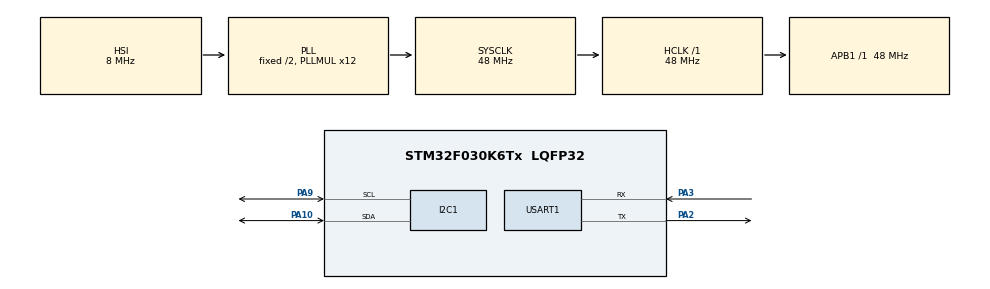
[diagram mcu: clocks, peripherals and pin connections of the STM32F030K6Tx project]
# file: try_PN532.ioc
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Mcu.Family=STM32F0
Mcu.Name=STM32F030K6Tx
Mcu.Package=LQFP32
PA10.Mode=I2C
PA10.Signal=I2C1_SDA
PA13.Mode=Serial_Wire
PA13.Signal=SYS_SWDIO
PA14.Mode=Serial_Wire
PA14.Signal=SYS_SWCLK
PA2.Mode=Asynchronous
PA2.Signal=USART1_TX
PA3.Mode=Asynchronous
PA3.Signal=USART1_RX
PA9.Mode=I2C
PA9.Signal=I2C1_SCL
PF0-OSC_IN.Mode=HSE-External-Oscillator
PF0-OSC_IN.Signal=RCC_OSC_IN
PF1-OSC_OUT.Mode=HSE-External-Oscillator
PF1-OSC_OUT.Signal=RCC_OSC_OUT
ProjectManager.HeapSize=0x200
ProjectManager.StackSize=0x400
ProjectManager.TargetToolchain=MDK-ARM V5
RCC.AHBFreq_Value=48000000
RCC.APB1Freq_Value=48000000
RCC.APB1TimFreq_Value=48000000
RCC.HCLKFreq_Value=48000000
RCC.PLLMUL=RCC_PLL_MUL12
RCC.SYSCLKFreq_VALUE=48000000
RCC.SYSCLKSource=RCC_SYSCLKSOURCE_PLLCLK
USART1.VirtualMode-Asynchronous=VM_ASYNC
board=custom

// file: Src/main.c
/**
  ******************************************************************************
  * @file           : main.c
  * @brief          : Main program body
  ******************************************************************************
  ** This notice applies to any and all portions of this file
  * that are not between comment pairs USER CODE BEGIN and
  * USER CODE END. Other portions of this file, whether
  * inserted by the user or by software development tools
  * are owned by their respective copyright owners.
  *
  * COPYRIGHT(c) 2018 STMicroelectronics
  *
  * Redistribution and use in source and binary forms, with or without modification,
  * are permitted provided that the following conditions are met:
  *   1. Redistributions of source code must retain the above copyright notice,
  *      this list of conditions and the following disclaimer.
  *   2. Redistributions in binary form must reproduce the above copyright notice,
  *      this list of conditions and the following disclaimer in the documentation
  *      and/or other materials provided with the distribution.
  *   3. Neither the name of STMicroelectronics nor the names of its contributors
  *      may be used to endorse or promote products derived from this software
  *      without specific prior written permission.
  *
  * THIS SOFTWARE IS PROVIDED BY THE COPYRIGHT HOLDERS AND CONTRIBUTORS "AS IS"
  * AND ANY EXPRESS OR IMPLIED WARRANTIES, INCLUDING, BUT NOT LIMITED TO, THE
  * IMPLIED WARRANTIES OF MERCHANTABILITY AND FITNESS FOR A PARTICULAR PURPOSE ARE
  * DISCLAIMED. IN NO EVENT SHALL THE COPYRIGHT HOLDER OR CONTRIBUTORS BE LIABLE
  * FOR ANY DIRECT, INDIRECT, INCIDENTAL, SPECIAL, EXEMPLARY, OR CONSEQUENTIAL
  * DAMAGES (INCLUDING, BUT NOT LIMITED TO, PROCUREMENT OF SUBSTITUTE GOODS OR
  * SERVICES; LOSS OF USE, DATA, OR PROFITS; OR BUSINESS INTERRUPTION) HOWEVER
  * CAUSED AND ON ANY THEORY OF LIABILITY, WHETHER IN CONTRACT, STRICT LIABILITY,
  * OR TORT (INCLUDING NEGLIGENCE OR OTHERWISE) ARISING IN ANY WAY OUT OF THE USE
  * OF THIS SOFTWARE, EVEN IF ADVISED OF THE POSSIBILITY OF SUCH DAMAGE.
  *
  ******************************************************************************
  */
#include "main.h"
#include "stm32f0xx_hal.h"

I2C_HandleTypeDef hi2c1;

UART_HandleTypeDef huart1;

/* USER CODE BEGIN PV */
/* Private variables ---------------------------------------------------------*/
typedef int boolean;
enum { false, true };

#define PN532_I2C_ADDRESS 						(0x48)
#define PN532_PREAMBLE                (0x00)
#define PN532_STARTCODE1              (0x00)
#define PN532_STARTCODE2              (0xFF)
#define PN532_POSTAMBLE               (0x00)

#define PN532_INVALID_ACK             (-1)
#define PN532_HOSTTOPN532             (0xD4)
#define PN532_PN532TOHOST             (0xD5)

#define PN532_COMMAND_SAMCONFIGURATION (0x14)

uint8_t pn532_packetbuffer[64];
uint8_t command;
/* USER CODE END PV */

void SystemClock_Config(void);
static void MX_GPIO_Init(void);
static void MX_I2C1_Init(void);
static void MX_USART1_UART_Init(void);

/* USER CODE BEGIN PFP */
/* Private function prototypes -----------------------------------------------*/
boolean SAMConfig();
int8_t writeCommand(const uint8_t *header, uint8_t hlen);
int8_t readAckFrame();
int16_t readResponse(uint8_t buf[], uint8_t len, uint16_t timeout);

/* USER CODE END PFP */

int main(void)
{

  /* MCU Configuration----------------------------------------------------------*/

  /* Reset of all peripherals, Initializes the Flash interface and the Systick. */
  HAL_Init();

  /* Configure the system clock */
  SystemClock_Config();

  /* Initialize all configured peripherals */
  MX_GPIO_Init();
  MX_I2C1_Init();
  MX_USART1_UART_Init();
  /* USER CODE BEGIN 2 */
	// SAMCinfig

  /* USER CODE END 2 */

  /* Infinite loop */
  while (1)
  {

  }

}

void SystemClock_Config(void)
{

  RCC_OscInitTypeDef RCC_OscInitStruct;
  RCC_ClkInitTypeDef RCC_ClkInitStruct;
  RCC_PeriphCLKInitTypeDef PeriphClkInit;

    /**Initializes the CPU, AHB and APB busses clocks
    */
  RCC_OscInitStruct.OscillatorType = RCC_OSCILLATORTYPE_HSI;
  RCC_OscInitStruct.HSIState = RCC_HSI_ON;
  RCC_OscInitStruct.HSICalibrationValue = 16;
  RCC_OscInitStruct.PLL.PLLState = RCC_PLL_ON;
  RCC_OscInitStruct.PLL.PLLSource = RCC_PLLSOURCE_HSI;
  RCC_OscInitStruct.PLL.PLLMUL = RCC_PLL_MUL12;
  RCC_OscInitStruct.PLL.PREDIV = RCC_PREDIV_DIV1;
  if (HAL_RCC_OscConfig(&RCC_OscInitStruct) != HAL_OK)
  {
    _Error_Handler(__FILE__, __LINE__);
  }

    /**Initializes the CPU, AHB and APB busses clocks
    */
  RCC_ClkInitStruct.ClockType = RCC_CLOCKTYPE_HCLK|RCC_CLOCKTYPE_SYSCLK
                              |RCC_CLOCKTYPE_PCLK1;
  RCC_ClkInitStruct.SYSCLKSource = RCC_SYSCLKSOURCE_PLLCLK;
  RCC_ClkInitStruct.AHBCLKDivider = RCC_SYSCLK_DIV1;
  RCC_ClkInitStruct.APB1CLKDivider = RCC_HCLK_DIV1;

  if (HAL_RCC_ClockConfig(&RCC_ClkInitStruct, FLASH_LATENCY_1) != HAL_OK)
  {
    _Error_Handler(__FILE__, __LINE__);
  }

  PeriphClkInit.PeriphClockSelection = RCC_PERIPHCLK_USART1|RCC_PERIPHCLK_I2C1;
  PeriphClkInit.Usart1ClockSelection = RCC_USART1CLKSOURCE_PCLK1;
  PeriphClkInit.I2c1ClockSelection = RCC_I2C1CLKSOURCE_HSI;
  if (HAL_RCCEx_PeriphCLKConfig(&PeriphClkInit) != HAL_OK)
  {
    _Error_Handler(__FILE__, __LINE__);
  }

    /**Configure the Systick interrupt time
    */
  HAL_SYSTICK_Config(HAL_RCC_GetHCLKFreq()/1000);

    /**Configure the Systick
    */
  HAL_SYSTICK_CLKSourceConfig(SYSTICK_CLKSOURCE_HCLK);

  /* SysTick_IRQn interrupt configuration */
  HAL_NVIC_SetPriority(SysTick_IRQn, 0, 0);
}

/* I2C1 init function */
static void MX_I2C1_Init(void)
{

  hi2c1.Instance = I2C1;
  hi2c1.Init.Timing = 0x2000090E;
  hi2c1.Init.OwnAddress1 = 0;
  hi2c1.Init.AddressingMode = I2C_ADDRESSINGMODE_7BIT;
  hi2c1.Init.DualAddressMode = I2C_DUALADDRESS_DISABLE;
  hi2c1.Init.OwnAddress2 = 0;
  hi2c1.Init.OwnAddress2Masks = I2C_OA2_NOMASK;
  hi2c1.Init.GeneralCallMode = I2C_GENERALCALL_DISABLE;
  hi2c1.Init.NoStretchMode = I2C_NOSTRETCH_DISABLE;
  if (HAL_I2C_Init(&hi2c1) != HAL_OK)
  {
    _Error_Handler(__FILE__, __LINE__);
  }

    /**Configure Analogue filter
    */
  if (HAL_I2CEx_ConfigAnalogFilter(&hi2c1, I2C_ANALOGFILTER_ENABLE) != HAL_OK)
  {
    _Error_Handler(__FILE__, __LINE__);
  }

    /**Configure Digital filter
    */
  if (HAL_I2CEx_ConfigDigitalFilter(&hi2c1, 0) != HAL_OK)
  {
    _Error_Handler(__FILE__, __LINE__);
  }

}

/* USART1 init function */
static void MX_USART1_UART_Init(void)
{

  huart1.Instance = USART1;
  huart1.Init.BaudRate = 38400;
  huart1.Init.WordLength = UART_WORDLENGTH_8B;
  huart1.Init.StopBits = UART_STOPBITS_1;
  huart1.Init.Parity = UART_PARITY_NONE;
  huart1.Init.Mode = UART_MODE_TX_RX;
  huart1.Init.HwFlowCtl = UART_HWCONTROL_NONE;
  huart1.Init.OverSampling = UART_OVERSAMPLING_16;
  huart1.Init.OneBitSampling = UART_ONE_BIT_SAMPLE_DISABLE;
  huart1.AdvancedInit.AdvFeatureInit = UART_ADVFEATURE_NO_INIT;
  if (HAL_UART_Init(&huart1) != HAL_OK)
  {
    _Error_Handler(__FILE__, __LINE__);
  }

}

/** Configure pins as
        * Analog
        * Input
        * Output
        * EVENT_OUT
        * EXTI
*/
static void MX_GPIO_Init(void)
{

  /* GPIO Ports Clock Enable */
  __HAL_RCC_GPIOF_CLK_ENABLE();
  __HAL_RCC_GPIOA_CLK_ENABLE();

}

/* USER CODE BEGIN 4 */
boolean SAMConfig()
{
	pn532_packetbuffer[0] = PN532_COMMAND_SAMCONFIGURATION;
  pn532_packetbuffer[1] = 0x01; // normal mode;
  pn532_packetbuffer[2] = 0x14; // timeout 50ms * 20 = 1 second
  pn532_packetbuffer[3] = 0x01; // use IRQ pin!

	if(writeCommand(pn532_packetbuffer, 4))
		return false;

}

int8_t writeCommand(const uint8_t *header, uint8_t hlen)
{
	command = header[0];
	uint8_t* dataOut;
	int total_length = 8;
	dataOut[0] = PN532_PREAMBLE;
	dataOut[1] = PN532_STARTCODE1;
	dataOut[2] = PN532_STARTCODE2;
	dataOut[3] = hlen + 1;
	dataOut[4] = ~hlen + 1;
	dataOut[5] = PN532_HOSTTOPN532;
	uint8_t sum = PN532_HOSTTOPN532;
	for(int i = 0; i<hlen; i++,total_length++)
	{
		dataOut[6+i] = header[i];
		sum+=header[i];
	}
	uint8_t checksum = ~sum + 1;
	dataOut[6+hlen-1] = checksum;
	dataOut[6+hlen] = PN532_POSTAMBLE;

	HAL_I2C_Master_Transmit(&hi2c1, PN532_I2C_ADDRESS, dataOut, total_length, 1000);

	return readAckFrame();
}

int8_t readAckFrame()
{
	const uint8_t PN532_ACK[] = {0, 0, 0xFF, 0, 0xFF, 0};
  uint8_t ackBuf[sizeof(PN532_ACK)+1];
	HAL_I2C_Master_Receive(&hi2c1, PN532_I2C_ADDRESS, ackBuf, sizeof(PN532_ACK) + 1, 10);
	for(int i = 0; i<sizeof(PN532_ACK); i++)
	{
		if(ackBuf[1+i] != PN532_ACK[i])
			return PN532_INVALID_ACK;
	}

	return 0;
}
/* USER CODE END 4 */

void _Error_Handler(char *file, int line)
{
  while(1)
  {
  }
}

/************************ (C) COPYRIGHT STMicroelectronics *****END OF FILE****/
